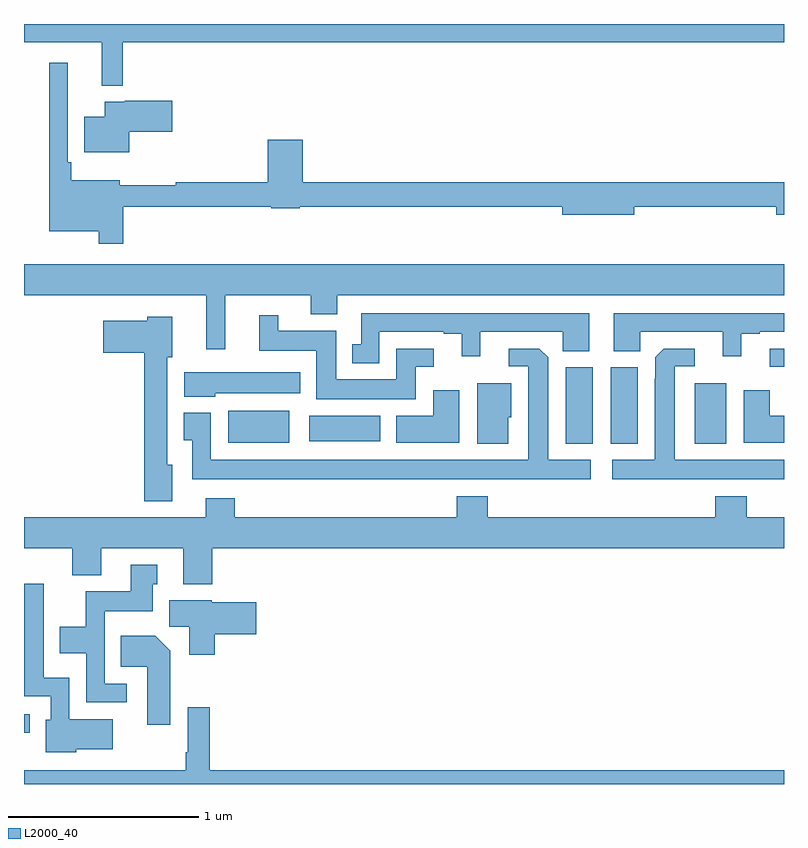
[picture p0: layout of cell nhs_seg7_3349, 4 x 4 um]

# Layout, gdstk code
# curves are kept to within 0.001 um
import gdstk
lib = gdstk.Library(unit=1e-6, precision=1e-09)
def R(c, l, rs):  # rectangles x0, y0, x1, y1
    for r in rs: c.add(gdstk.rectangle(r[:2], r[2:], *l))
def P(c, l, *ps):  # polygons
    for p in ps: c.add(gdstk.Polygon(p, *l))
L2000_40 = (2000, 40)

nhs_seg7_3349 = lib.new_cell('nhs_seg7_3349')
R(nhs_seg7_3349, L2000_40, [(323,1042.271,323.029,1042.368), (325.85,1043.792,325.993,1044.193), (326.087,1043.792,326.23,1044.193), (326.531,1043.792,326.695,1044.109), (324.074,1043.795,324.397,1043.965), (324.501,1043.804,324.874,1043.938), (326.925,1044.195,327,1044.291)])
P(nhs_seg7_3349, L2000_40, [(323.52,1045.904),(327,1045.904),(327,1046),(323,1046),(323,1045.904),(323.408,1045.904),(323.408,1045.676),(323.52,1045.676)],
  [(323.522,1045.038),(324.3,1045.038),(324.3,1045.03),(324.45,1045.03),(324.45,1045.038),(325.832,1045.038),(325.832,1044.995),(326.212,1044.995),(326.212,1045.038),(326.96,1045.038),(326.96,1044.995),(327,1044.995),(327,1045.166),(324.467,1045.166),(324.467,1045.39),(324.284,1045.39),(324.284,1045.166),(323.799,1045.166),(323.799,1045.151),(323.503,1045.151),(323.503,1045.177),(323.249,1045.177),(323.249,1045.273),(323.229,1045.273),(323.229,1045.795),(323.132,1045.795),(323.132,1044.908),(323.394,1044.908),(323.394,1044.843),(323.522,1044.843)],
  [(323.554,1045.433),(323.779,1045.433),(323.779,1045.596),(323.53,1045.596),(323.53,1045.591),(323.426,1045.591),(323.426,1045.513),(323.318,1045.513),(323.318,1045.325),(323.554,1045.325)],
  [(323,1044.572),(323.96,1044.572),(323.96,1044.288),(324.059,1044.288),(324.059,1044.572),(324.509,1044.572),(324.509,1044.473),(324.649,1044.473),(324.649,1044.572),(327,1044.572),(327,1044.736),(323,1044.736)],
  [(324.87,1044.381),(325.208,1044.381),(325.208,1044.369),(325.304,1044.369),(325.304,1044.252),(325.402,1044.252),(325.402,1044.381),(325.836,1044.381),(325.836,1044.278),(325.975,1044.278),(325.975,1044.477),(324.774,1044.477),(324.774,1044.315),(324.728,1044.315),(324.728,1044.215),(324.87,1044.215)],
  [(326.776,1044.369),(326.872,1044.369),(326.872,1044.381),(327,1044.381),(327,1044.477),(326.105,1044.477),(326.105,1044.278),(326.244,1044.278),(326.244,1044.381),(326.678,1044.381),(326.678,1044.252),(326.776,1044.252)],
  [(325.063,1044.195),(325.156,1044.195),(325.156,1044.291),(324.959,1044.291),(324.959,1044.13),(324.643,1044.13),(324.643,1044.385),(324.337,1044.385),(324.337,1044.466),(324.239,1044.466),(324.239,1044.281),(324.539,1044.281),(324.539,1044.026),(325.063,1044.026)],
  [(323.779,1043.679),(323.755,1043.679),(323.755,1044.246),(323.779,1044.246),(323.779,1044.46),(323.649,1044.46),(323.649,1044.439),(323.418,1044.439),(323.418,1044.269),(323.633,1044.269),(323.633,1043.489),(323.779,1043.489)],
  [(325.984,1043.707),(325.759,1043.707),(325.758,1044.245),(325.712,1044.291),(325.551,1044.291),(325.551,1044.198),(325.655,1044.198),(325.655,1043.707),(323.982,1043.707),(323.982,1043.953),(323.84,1043.953),(323.84,1043.809),(323.885,1043.809),(323.885,1043.603),(325.984,1043.603)],
  [(327,1043.707),(326.425,1043.707),(326.425,1044.198),(326.53,1044.198),(326.53,1044.291),(326.368,1044.291),(326.322,1044.245),(326.321,1043.707),(326.097,1043.707),(326.097,1043.603),(327,1043.603)],
  [(324.006,1044.056),(324.454,1044.056),(324.454,1044.166),(323.844,1044.166),(323.844,1044.038),(324.006,1044.038)],
  [(325.549,1043.931),(325.564,1043.931),(325.564,1044.109),(325.385,1044.109),(325.385,1043.792),(325.549,1043.792)],
  [(327,1043.938),(326.926,1043.938),(326.926,1044.073),(326.789,1044.073),(326.789,1043.795),(327,1043.795)],
  [(325.291,1044.073),(325.154,1044.073),(325.154,1043.938),(324.959,1043.938),(324.959,1043.795),(325.291,1043.795)],
  [(323.99,1043.24),(327,1043.24),(327,1043.404),(326.804,1043.404),(326.804,1043.515),(326.639,1043.515),(326.639,1043.404),(325.442,1043.404),(325.442,1043.515),(325.277,1043.515),(325.277,1043.404),(324.11,1043.404),(324.11,1043.503),(323.957,1043.503),(323.957,1043.404),(323,1043.404),(323,1043.24),(323.255,1043.24),(323.255,1043.099),(323.407,1043.099),(323.407,1043.24),(323.837,1043.24),(323.837,1043.051),(323.99,1043.051)],
  [(323.542,1042.527),(323.424,1042.527),(323.424,1042.91),(323.677,1042.91),(323.677,1043.052),(323.701,1043.052),(323.701,1043.155),(323.561,1043.155),(323.561,1043.014),(323.326,1043.014),(323.326,1042.828),(323.189,1042.828),(323.189,1042.688),(323.328,1042.688),(323.328,1042.431),(323.542,1042.431)],
  [(323.274,1042.184),(323.467,1042.184),(323.467,1042.342),(323.238,1042.342),(323.238,1042.558),(323.104,1042.558),(323.104,1043.053),(323,1043.053),(323,1042.461),(323.142,1042.461),(323.142,1042.338),(323.114,1042.338),(323.114,1042.166),(323.274,1042.166)],
  [(324.005,1042.787),(324.223,1042.787),(324.223,1042.957),(323.988,1042.957),(323.988,1042.966),(323.765,1042.966),(323.765,1042.828),(323.87,1042.828),(323.87,1042.68),(324.005,1042.68)],
  [(323.77,1042.702),(323.692,1042.78),(323.509,1042.78),(323.509,1042.616),(323.648,1042.616),(323.648,1042.311),(323.77,1042.311)],
  [(327,1042.072),(323.978,1042.072),(323.978,1042.405),(323.862,1042.405),(323.862,1042.168),(323.85,1042.168),(323.85,1042.072),(323,1042.072),(323,1042),(327,1042)])

lib.write_gds('nhs_seg7_3349.gds')
